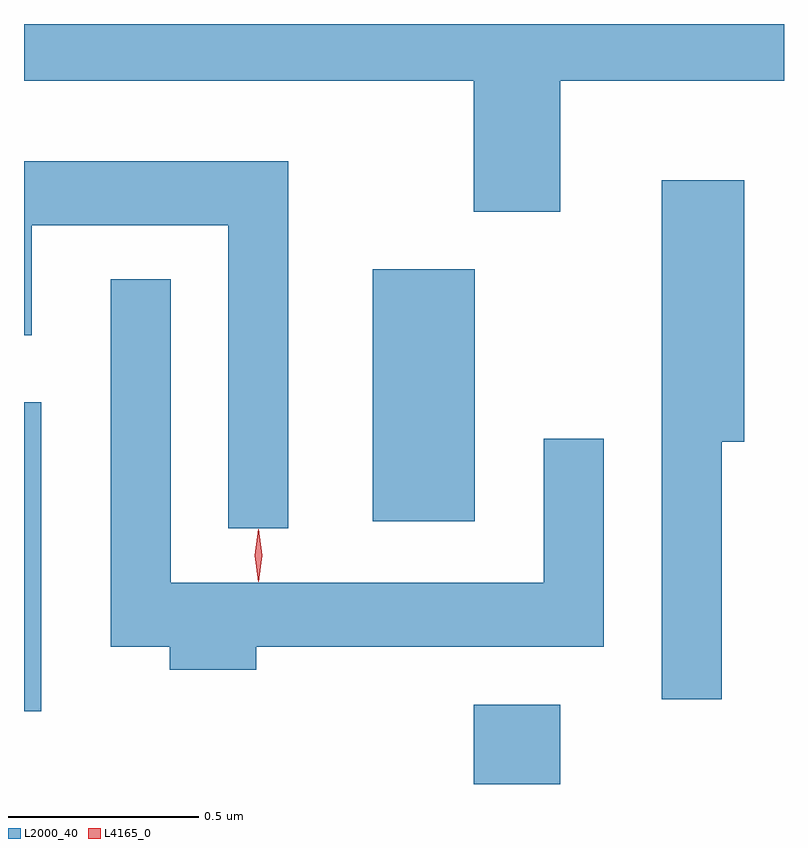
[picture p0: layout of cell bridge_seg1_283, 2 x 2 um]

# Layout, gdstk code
import gdstk
lib = gdstk.Library(unit=1e-6, precision=1e-09)
def R(c, l, rs):  # rectangles x0, y0, x1, y1
    for r in rs: c.add(gdstk.rectangle(r[:2], r[2:], *l))
def P(c, l, *ps):  # polygons
    for p in ps: c.add(gdstk.Polygon(p, *l))
L2000_40 = (2000, 40)
L4165_0 = (4165, 0)

bridge_seg1_283 = lib.new_cell('bridge_seg1_283')
R(bridge_seg1_283, L2000_40, [(841.931,895.505,842.159,895.714), (840.748,895.696,840.794,896.509), (841.666,896.196,841.934,896.859)])
P(bridge_seg1_283, L2000_40, [(842.159,897.356),(842.748,897.356),(842.748,897.505),(840.748,897.505),(840.748,897.356),(841.931,897.356),(841.931,897.011),(842.159,897.011)],
  [(841.444,897.144),(840.748,897.144),(840.748,896.686),(840.769,896.686),(840.769,896.976),(841.286,896.976),(841.286,896.178),(841.444,896.178)],
  [(842.584,896.406),(842.644,896.406),(842.644,897.094),(842.426,897.094),(842.426,895.728),(842.584,895.728)],
  [(841.359,895.866),(842.274,895.866),(842.274,896.413),(842.116,896.413),(842.116,896.034),(841.134,896.034),(841.134,896.833),(840.976,896.833),(840.976,895.866),(841.131,895.866),(841.131,895.806),(841.359,895.806)])
P(bridge_seg1_283, L4165_0, [(841.365,896.037),(841.365,896.037),(841.355,896.107),(841.365,896.176),(841.365,896.176),(841.366,896.176),(841.375,896.107),(841.366,896.037)],
  [(841.365,896.039),(841.365,896.04),(841.355,896.106),(841.365,896.172),(841.365,896.173),(841.366,896.172),(841.375,896.106),(841.366,896.04)])

lib.write_gds('bridge_seg1_283.gds')
